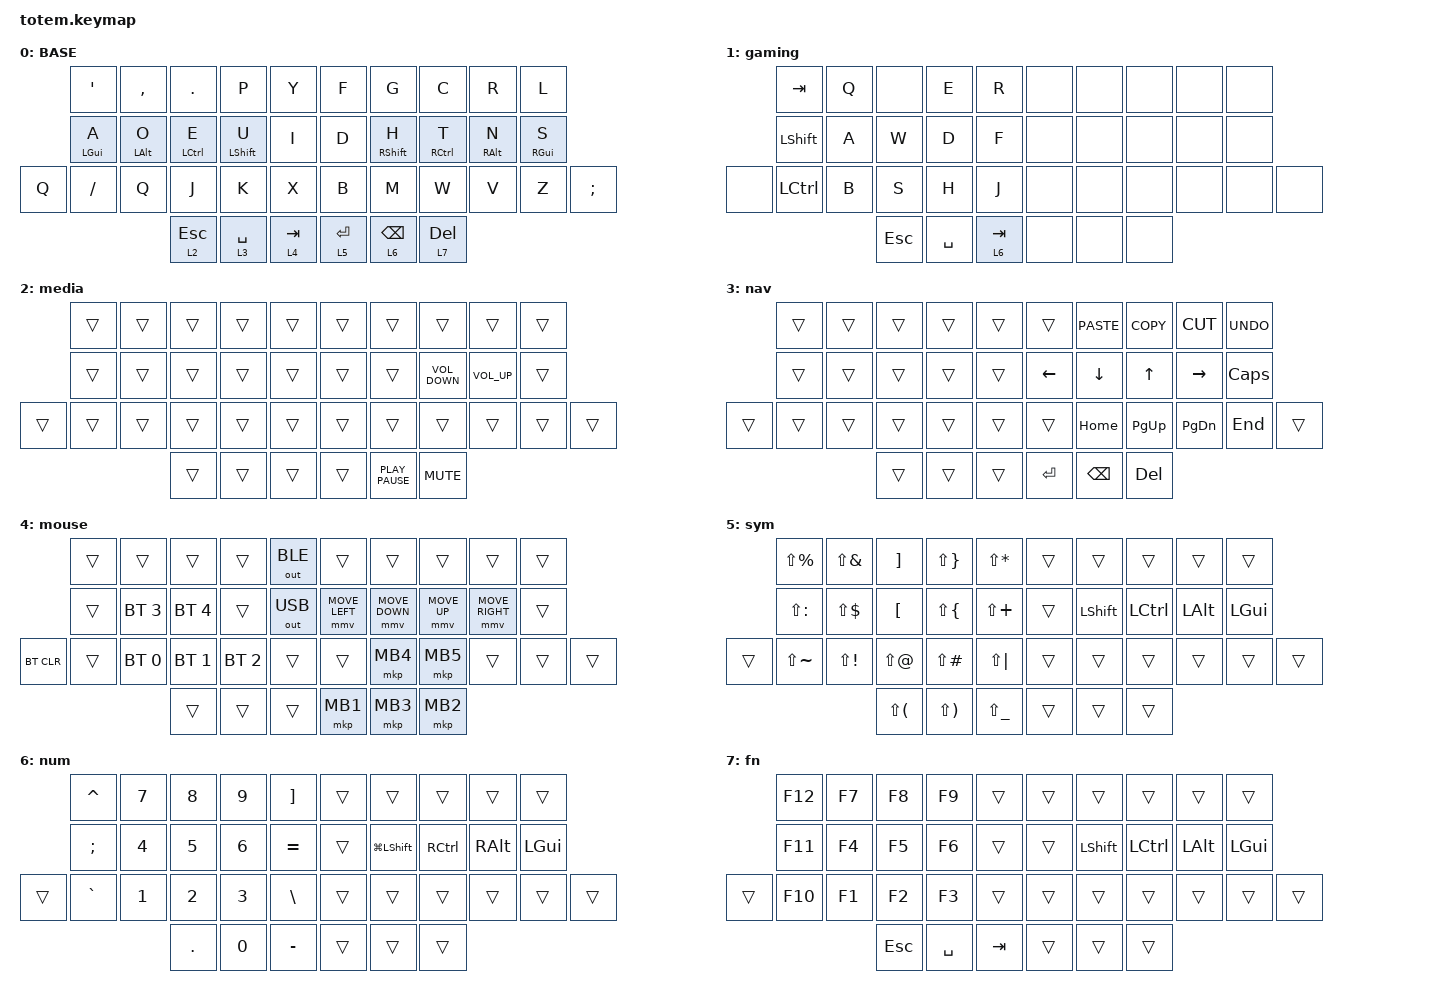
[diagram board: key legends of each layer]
//
//                                                        ▀▀▀▀▀     ▀▀▀▀▀          ▀▀█▀▀
//                                                        ▄▀▀▀▄  ▄  ▄▀▀▀▄  ▄  ▄▀▀▀▄  █  ▄▀▀▀▄
//                                                        █   █  █  █   █  █  █   █  █  █   █
//                                                         ▀▀▀   █   ▀▀▀   █   ▀▀▀   ▀   ▀▀▀
//                                                               █      ▄▄▄█▄▄▄    █   █  
//                                                               ▀      █  █  █     █▄█
//                                                             ▀▀▀▀▀    █  █  █      ▀
//                                                                      ▀  ▀  ▀
//
// ▄▄▄▄▄▄▄▄▄▄▄▄▄▄▄▄▄▄▄▄▄▄▄▄▄▄▄▄▄▄▄▄▄▄▄▄▄▄▄▄▄▄▄▄▄▄▄▄▄▄▄▄▄▄▄▄▄▄▄▄▄▄▄▄▄▄▄▄▄▄▄▄▄▄▄▄▄▄▄▄▄▄▄▄▄▄▄▄▄▄▄▄▄▄▄▄▄▄▄▄▄▄▄▄▄▄▄▄▄▄▄▄▄▄▄▄▄▄▄▄▄▄▄▄▄▄▄▄▄▄▄▄▄▄▄▄▄▄▄▄▄▄▄▄▄▄▄▄▄

#include "mouse.dsti"
#include <behaviors.dtsi>
#include <dt-bindings/zmk/bt.h>
#include <dt-bindings/zmk/keys.h>
#include <dt-bindings/zmk/mouse.h>
#include <dt-bindings/zmk/outputs.h>

#define BASE 0
#define NAV  1
#define SYM  2
#define ADJ  3
#define TVP1 4
#define TVP2 5

&mt {
    flavor = "tap-unless-interrupted";
    tapping-term-ms = <150>;
};

/ {
    combos {
        compatible = "zmk,combos";

        gaming_to {
            bindings = <&to 1>;
            key-positions = <20 31>;
            layers = <0>;
        };

        default_to {
            bindings = <&to 0>;
            key-positions = <20 31>;
            layers = <1>;
        };

        underscore {
            bindings = <&kp UNDERSCORE>;
            key-positions = <24 23>;
        };

        capsword {
            bindings = <&caps_word>;
            key-positions = <13 16>;
        };
    };

    macros {
        gif: gif {
            label = "giphy";
            compatible = "zmk,behavior-macro";
            #binding-cells = <0>;
            bindings =
                <&macro_press>,
                <&kp LSHFT>,
                <&macro_tap>,
                <&kp N2>,
                <&macro_release>,
                <&kp LSHFT>,
                <&macro_tap>,
                <&kp G &kp I &kp F>;
        };
    };

    behaviors {
        Right_mods: Right_mods {
            compatible = "zmk,behavior-hold-tap";
            label = "RIGHT_MODS";
            bindings = <&kp>, <&kp>;

            #binding-cells = <2>;
            tapping-term-ms = <150>;
            flavor = "tap-unless-interrupted";
            hold-trigger-key-positions = <1 3 4 11 12 13 14 22 23 24 25 0 1 2 3 4 10 11 12 13 14 20 21 22 23 24 25 22 24 25 32 33 34 35 36 37>;
            hold-trigger-on-release;
        };

        Left_mods: Left_mods {
            compatible = "zmk,behavior-hold-tap";
            label = "LEFT_MODS";
            bindings = <&kp>, <&kp>;

            #binding-cells = <2>;
            tapping-term-ms = <150>;
            flavor = "tap-unless-interrupted";
            hold-trigger-key-positions = <5 8 9 15 16 17 18 19 26 27 28 29 30 31 36 37 6 7 33 34 35 32>;
            hold-trigger-on-release;
        };
    };

    keymap {
        compatible = "zmk,keymap";

        // ▄▄▄▄▄▄▄▄▄▄▄▄▄▄▄▄▄▄▄▄▄▄▄▄▄▄▄▄▄▄▄▄▄▄▄▄▄▄▄▄▄▄▄▄▄▄▄▄▄▄▄▄▄▄▄▄▄▄▄▄▄▄▄▄▄▄▄▄▄▄▄▄▄▄▄▄▄▄▄▄▄▄▄▄▄▄▄▄▄▄▄▄▄▄▄▄▄▄▄▄▄▄▄▄▄▄▄▄▄▄▄▄▄▄▄▄▄▄▄▄▄▄▄▄▄▄▄▄▄▄▄▄▄▄▄▄▄▄▄▄▄▄▄▄▄▄▄▄▄

        base_layer {
            // ┏━━━━━━━━━━━━━━━━━━━━━━━━━━━━━━━━━━━━━━━┓

            label = "BASE";

            // ┗━━━━━━━━━━━━━━━━━━━━━━━━━━━━━━━━━━━━━━━┛
            //             ┏━━━━━━━━━━━┳━━━━━━━━━━━┳━━━━━━━━━━━┳━━━━━━━━━━━┳━━━━━━━━━━━┓   ┏━━━━━━━━━━━┳━━━━━━━━━━━┳━━━━━━━━━━━┳━━━━━━━━━━━┳━━━━━━━━━━━┓
            //             ┃     Q     ┃     W     ┃     F     ┃     P     ┃     G     ┃   ┃     J     ┃     L     ┃     U     ┃     Y     ┃     ;     ┃
            //             ┣━━━━━━━━━━━╋━━━━━━━━━━━╋━━━━━━━━━━━╋━━━━━━━━━━━╋━━━━━━━━━━━┫   ┣━━━━━━━━━━━╋━━━━━━━━━━━╋━━━━━━━━━━━╋━━━━━━━━━━━╋━━━━━━━━━━━┫
            //             ┃     A     ┃     R     ┃     S     ┃     T     ┃     D     ┃   ┃     H     ┃     N     ┃     E     ┃     I     ┃     O     ┃
            // ┏━━━━━━━━━━━╋━━━━━━━━━━━╋━━━━━━━━━━━╋━━━━━━━━━━━╋━━━━━━━━━━━╋━━━━━━━━━━━┫   ┣━━━━━━━━━━━╋━━━━━━━━━━━╋━━━━━━━━━━━╋━━━━━━━━━━━╋━━━━━━━━━━━╋━━━━━━━━━━━┓
            // ┃     Q     ┃     Z     ┃     X     ┃     C     ┃     V     ┃     B     ┃   ┃     K     ┃     M     ┃     ,     ┃     .     ┃     /     ┃     \     ┃
            // ┗━━━━━━━━━━━┻━━━━━━━━━━━┻━━━━━━━━━━━╋━━━━━━━━━━━╋━━━━━━━━━━━╋━━━━━━━━━━━┫   ┣━━━━━━━━━━━╋━━━━━━━━━━━╋━━━━━━━━━━━╋━━━━━━━━━━━┻━━━━━━━━━━━┻━━━━━━━━━━━┛
            //                                     ┃    DEL    ┃    TAB    ┃    SPC    ┃   ┃   ENTER   ┃           ┃   BSPC    ┃
            //                                     ┗━━━━━━━━━━━┻━━━━━━━━━━━┻━━━━━━━━━━━┛   ┗━━━━━━━━━━━┻━━━━━━━━━━━┻━━━━━━━━━━━┛

            bindings = <
       &kp SQT            &kp COMMA          &kp PERIOD          &kp P               &kp Y        &kp F      &kp G                &kp C                &kp R               &kp L
       &Left_mods LGUI A  &Left_mods LALT O  &Left_mods LCTRL E  &Left_mods LSHFT U  &kp I        &kp D      &Right_mods RSHFT H  &Right_mods RCTRL T  &Right_mods RALT N  &Right_mods RGUI S
&kp Q  &kp SLASH          &kp Q              &kp J               &kp K               &kp X        &kp B      &kp M                &kp W                &kp V               &kp Z               &kp SEMICOLON
                                             &lt 2 ESC           &lt 3 SPACE         &lt 4 TAB    &lt 5 RET  &lt 6 BACKSPACE      &lt 7 DELETE
            >;
        };

        gaming {
            bindings = <
       &kp TAB    &kp Q  &none       &kp E      &kp R        &none  &none  &none  &none  &none
       &kp LSHFT  &kp A  &kp W       &kp D      &kp F        &none  &none  &none  &none  &none
&none  &kp LCTRL  &kp B  &kp S       &kp H      &kp J        &none  &none  &none  &none  &none  &none
                         &kp ESCAPE  &kp SPACE  &lt 6 TAB    &none  &none  &none
            >;
        };

        media {
            bindings = <
        &trans  &trans  &trans  &trans  &trans    &trans  &trans            &trans             &trans           &trans
        &trans  &trans  &trans  &trans  &trans    &trans  &trans            &kp C_VOLUME_DOWN  &kp C_VOLUME_UP  &trans
&trans  &trans  &trans  &trans  &trans  &trans    &trans  &trans            &trans             &trans           &trans  &trans
                        &trans  &trans  &trans    &trans  &kp K_PLAY_PAUSE  &kp C_MUTE
            >;
        };

        nav {
            bindings = <
        &trans  &trans  &trans  &trans  &trans    &trans          &kp K_PASTE     &kp K_COPY    &kp K_CUT        &kp K_UNDO
        &trans  &trans  &trans  &trans  &trans    &kp LEFT_ARROW  &kp DOWN_ARROW  &kp UP_ARROW  &kp RIGHT_ARROW  &kp CAPS
&trans  &trans  &trans  &trans  &trans  &trans    &trans          &kp HOME        &kp PG_UP     &kp PG_DN        &kp END     &trans
                        &trans  &trans  &trans    &kp RET         &kp BSPC        &kp DEL
            >;
        };

        mouse {
            bindings = <
            &trans  &trans        &trans        &trans        &out OUT_BLE    &trans          &trans          &trans        &trans           &trans
            &trans  &bt BT_SEL 3  &bt BT_SEL 4  &trans        &out OUT_USB    &mmv MOVE_LEFT  &mmv MOVE_DOWN  &mmv MOVE_UP  &mmv MOVE_RIGHT  &trans
&bt BT_CLR  &trans  &bt BT_SEL 0  &bt BT_SEL 1  &bt BT_SEL 2  &trans          &trans          &mkp MB4        &mkp MB5      &trans           &trans  &trans
                                  &trans        &trans        &trans          &mkp MB1        &mkp MB3        &mkp MB2
            >;
        };

        sym {
            bindings = <
        &kp LS(PERCENT)  &kp LS(AMPS)  &kp RBKT      &kp LS(RBRC)   &kp LS(STAR)     &trans  &trans     &trans     &trans    &trans
        &kp LS(COLON)    &kp LS(DLLR)  &kp LBKT      &kp LS(LBRC)   &kp LS(PLUS)     &trans  &kp LSHFT  &kp LCTRL  &kp LALT  &kp LGUI
&trans  &kp LS(TILDE)    &kp LS(EXCL)  &kp LS(AT)    &kp LS(POUND)  &kp LS(PIPE)     &trans  &trans     &trans     &trans    &trans    &trans
                                       &kp LS(LPAR)  &kp LS(RPAR)   &kp LS(UNDER)    &trans  &trans     &trans
            >;
        };

        num {
            bindings = <
        &kp CARET  &kp N7  &kp N8   &kp N9  &kp RBKT     &trans  &trans          &trans     &trans    &trans
        &kp SEMI   &kp N4  &kp N5   &kp N6  &kp EQUAL    &trans  &kp LG(LSHIFT)  &kp RCTRL  &kp RALT  &kp LGUI
&trans  &kp GRAVE  &kp N1  &kp N2   &kp N3  &kp BSLH     &trans  &trans          &trans     &trans    &trans    &trans
                           &kp DOT  &kp N0  &kp MINUS    &trans  &trans          &trans
            >;
        };

        fn {
            bindings = <
        &kp F12  &kp F7  &kp F8   &kp F9     &trans     &trans  &trans     &trans     &trans    &trans
        &kp F11  &kp F4  &kp F5   &kp F6     &trans     &trans  &kp LSHFT  &kp LCTRL  &kp LALT  &kp LGUI
&trans  &kp F10  &kp F1  &kp F2   &kp F3     &trans     &trans  &trans     &trans     &trans    &trans    &trans
                         &kp ESC  &kp SPACE  &kp TAB    &trans  &trans     &trans
            >;
        };
    };

    mouse_layer {
        display-name = "MSE";
        bindings = <
            &trans          &trans        &trans        &trans       &trans           &msc SCRL_LEFT &msc SCRL_DOWN &mmv MOVE_UP   &msc SCRL_UP    &msc SCRL_RIGHT
            &kp LGUI        &kp LALT      &kp LCTRL     &kp LSHFT    &trans           &trans         &mmv MOVE_LEFT &mmv MOVE_DOWN &mmv MOVE_RIGHT &trans
&trans      &trans          &trans        &trans        &trans       &trans           &trans         &mkp MB4       &mkp MCLK      &mkp MB5         &trans           &trans
                                          &trans        &trans       &trans           &mkp LCLK      &mkp RCLK       &trans
        >;
    };
};
